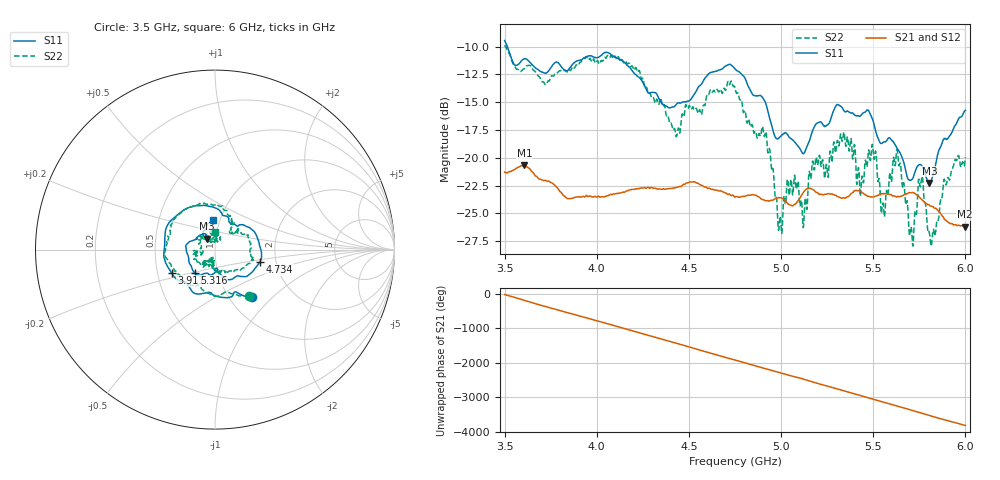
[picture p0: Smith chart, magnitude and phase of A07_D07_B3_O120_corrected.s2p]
! Created with skrf 1.9.0 (http://scikit-rf.org).
# Hz S RI R 50.0
!freq ReS11 ImS11 ReS21 ImS21 ReS12 ImS12 ReS22 ImS22
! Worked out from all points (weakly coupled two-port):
!   1601 points, 3.5 GHz to 6 GHz, reference 50 ohm
!   highest |S21| = -20.70 dB at 3.608 GHz (marker M1); lowest = -26.2 dB at 5.997 GHz (marker M2)
!   lowest |S11| = -22.3 dB at 5.805 GHz (marker M3), VSWR 1.17, Z = 45.2 + j5.55 ohm
!   |S11| at or under -10 dB: 3.515 GHz to end of sweep
!   |S22| runs from -28.0 to -9.9 dB; largest |S21 - S12| = 0.0011
!   S11 on the Smith chart (normalised r, x): 3.5 GHz: 1.27, -0.76; 3.911 GHz: 0.59, -0.17; 4.734 GHz: 1.64, -0.24; 5.316 GHz: 0.77, -0.21; 6 GHz: 0.93, +0.31
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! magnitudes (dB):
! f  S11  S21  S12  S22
! 3.5 GHz  -9.5  -21.3  -21.3  -9.9
! 3.608 GHz  -11.1  -20.7  -20.7  -12.0
! 3.911 GHz  -11.2  -23.5  -23.5  -11.4
! 3.917 GHz  -11.2  -23.5  -23.5  -11.4
! 4.334 GHz  -14.6  -22.8  -22.8  -15.2
! 4.439 GHz  -15.1  -22.6  -22.6  -17.6
! 4.734 GHz  -11.7  -23.4  -23.4  -13.3
! 4.75 GHz  -12.0  -23.6  -23.5  -13.7
! 4.911 GHz  -14.9  -23.8  -23.8  -18.1
! 4.994 GHz  -18.1  -23.6  -23.6  -25.4
! 5.167 GHz  -17.7  -22.8  -22.8  -20.8
! 5.316 GHz  -15.3  -23.6  -23.5  -18.8
! 5.438 GHz  -16.1  -23.1  -23.1  -21.8
! 5.503 GHz  -16.9  -23.5  -23.5  -20.0
! 5.553 GHz  -18.6  -23.2  -23.2  -24.1
! 5.584 GHz  -18.2  -23.3  -23.3  -22.5
! 5.638 GHz  -19.3  -23.5  -23.5  -20.5
! 5.708 GHz  -22.0  -23.2  -23.1  -26.4
! 5.758 GHz  -20.6  -23.7  -23.6  -22.4
! 5.805 GHz  -22.3  -24.3  -24.3  -26.8
! 5.997 GHz  -15.8  -26.2  -26.1  -20.5
! 6 GHz  -15.7  -26.2  -26.1  -20.0
